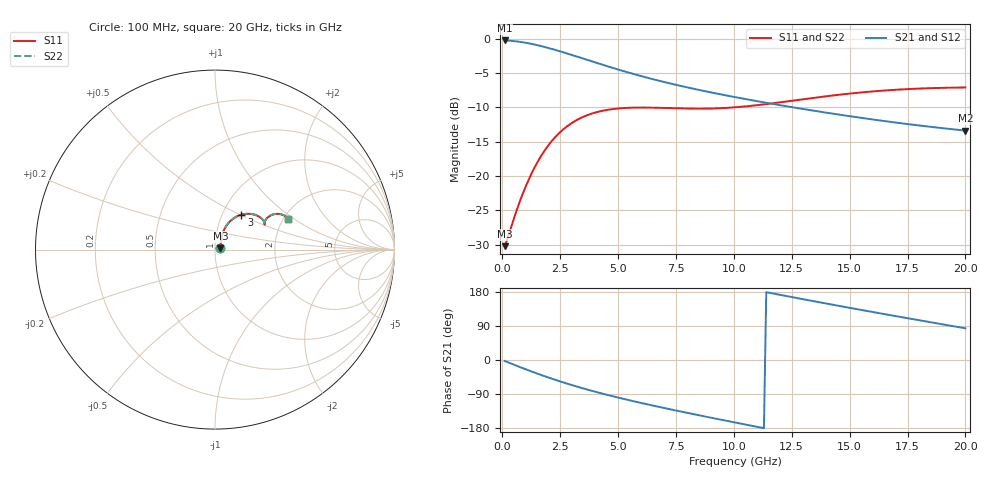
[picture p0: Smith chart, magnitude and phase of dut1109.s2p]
! Touchstone file exported from HFSS 2024.1.0
!  File:  C:/UserFiles/LocalFiles/RDL_TSV_Batchsim/temp_RDL_TSV_1109_1780102485.aedt
!  Generated:  09:07:06 AM May 30, 2026
!  Design:  RDL_TSV
!  Project:  temp_RDL_TSV_1109_1780102485
!  Setup:  Setup1
!  Solution:  Sweep
! Variables:
!  dtsv = 10.39um
!  hbump = 3um
!  htsv = 99.05um
!  ldown = 580.18um
!  lrdl = 503.43um
!  p = 40
!  p1 = 53.92um
!  rhole = 10um
!  subl = 3754.26um
!  t = 450um
!  tdown = 4.01um
!  trdl = 3.23um
!  viad = 10um
!  wdown = 12.24um
!  wrdl = 12.44um
!  xbump = 18um
# GHz S MA R 50.000000
! Terminal data exported
! Port[1] = TM1_1_T1
! Port[2] = TM1_4_T1
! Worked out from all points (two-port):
!   200 points, 100 MHz to 20 GHz, reference 50 ohm
!   highest |S21| = -0.27 dB at 100 MHz (marker M1); lowest = -13.4 dB at 20 GHz (marker M2)
!   |S21| within 3 dB of the highest: start of sweep to 3.829 GHz
!   lowest |S11| = -30.2 dB at 100 MHz (marker M3), VSWR 1.06, Z = 53.1 + j0.809 ohm
!   |S11| at or under -10 dB: start of sweep to 10.03 GHz
!   |S22| runs from -30.2 to -7.1 dB; largest |S21 - S12| = 8.3e-15
!   S11 on the Smith chart (normalised r, x): 100 MHz: 1.06, +0.02; 3 GHz: 1.23, +0.51; 20 GHz: 2.12, +0.90
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0.1  0.03089 14.3  0.9697 -2.5  0.9697 -2.5  0.03089 14.3
! Gamma 0 0 0 0
! Port Impedance 50 0 50 0
0.2  0.03399 26.3  0.9682 -5.0  0.9682 -5.0  0.03399 26.4
0.5  0.04913 48.2  0.9593 -12.4  0.9593 -12.4  0.04913 48.2
0.9  0.0756 60.8  0.9397 -21.9  0.9397 -21.9  0.0756 60.8
1.5  0.1245 65.4  0.8973 -35.6  0.8973 -35.6  0.1246 65.4
1.8  0.1508 64.4  0.8721 -42.2  0.8721 -42.2  0.1509 64.4
2.2  0.185 61.3  0.836 -50.6  0.836 -50.6  0.1851 61.4
2.6  0.2163 57.3  0.7985 -58.6  0.7985 -58.6  0.2164 57.4
3  0.2432 53.0  0.7609 -66.2  0.7609 -66.2  0.2433 53.0
3.5  0.2699 47.7  0.7152 -75.1  0.7152 -75.1  0.2701 47.7
4.2  0.2953 41.0  0.6558 -86.8  0.6558 -86.8  0.2955 41.0
5  0.3102 34.9  0.596 -99.1  0.596 -99.1  0.3105 35.0
5.9  0.3151 30.2  0.5393 -112.0  0.5393 -112.0  0.3154 30.2
6.8  0.3135 27.5  0.4923 -124.2  0.4923 -124.2  0.3137 27.5
8.4  0.3091 26.8  0.4266 -144.7  0.4266 -144.7  0.3093 26.8
10.1  0.3169 29.2  0.3739 -165.5  0.3739 -165.5  0.3172 29.2
11.8  0.3405 31.3  0.3322 174.2  0.3322 174.2  0.3409 31.3
13.4  0.3699 31.4  0.2998 155.7  0.2998 155.7  0.3704 31.4
15  0.3982 30.0  0.2726 137.6  0.2726 137.6  0.3988 30.0
16.7  0.4214 27.6  0.2487 118.9  0.2487 118.9  0.422 27.6
18.3  0.435 25.1  0.2301 101.7  0.2301 101.7  0.4357 25.0
20  0.4412 22.7  0.2142 83.6  0.2142 83.6  0.4419 22.7
